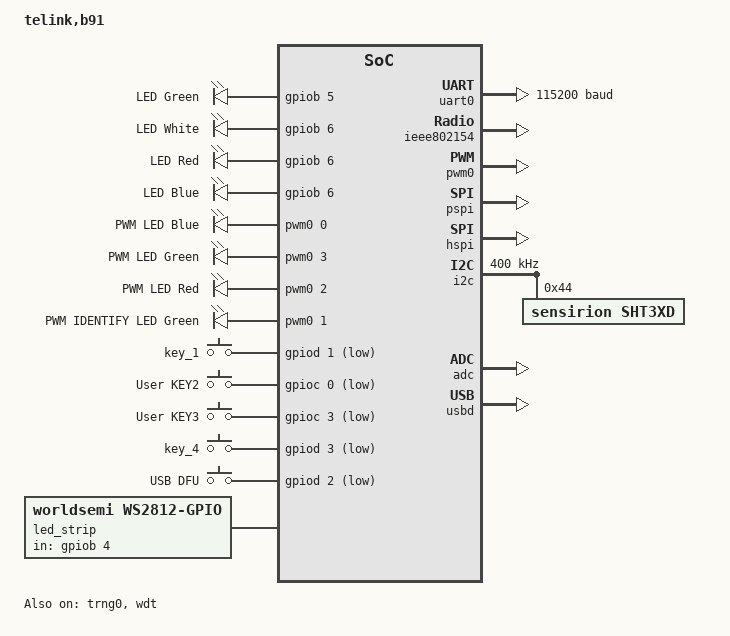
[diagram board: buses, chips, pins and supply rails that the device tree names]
/*
 * Copyright (c) 2023 Telink Semiconductor
 *
 * SPDX-License-Identifier: Apache-2.0
 */

/dts-v1/;

#include <freq.h>
#include <telink/telink_b91.dtsi>
#include "tlsr9518adk80d-pinctrl.dtsi"
#include <zephyr/dt-bindings/gpio/gpio.h>
#include <zephyr/dt-bindings/led/led.h>

/ {
	model = "telink,b91";
	compatible = "telink,tlsr9518adk80d";

	aliases {
		led0 = &led_blue;
		led1 = &led_green;
		led2 = &led_white;
		led3 = &led_red;
		sw0 = &key_1;
		sw1 = &key_2;
		sw2 = &key_3;
		sw3 = &key_4;
		pwm-0 = &pwm0;
		watchdog0 = &wdt;
		mcuboot-button0 = &key_dfu;
		mcuboot-led0 = &led_blue;
		led-strip = &led_strip;
		system-state-led = &led_red;
		pwm-led0 = &pwm_led0;
		pwm-led1 = &pwm_led1;
		pwm-led2 = &pwm_led2;
		pwm-led3 = &pwm_led3;
	};

	leds {
		compatible = "gpio-leds";

		led_green: led_1 {
			gpios = <&gpiob 5 GPIO_ACTIVE_HIGH>;
			label = "LED Green";
		};

		led_white: led_2 {
			gpios = <&gpiob 6 GPIO_ACTIVE_HIGH>;
			label = "LED White";
		};

		led_red: led_3 {
			label = "LED Red";
			gpios = <&gpiob 6 GPIO_ACTIVE_HIGH>;
		};

		led_blue: led_0 {
			label = "LED Blue";
			gpios = <&gpiob 6 GPIO_ACTIVE_HIGH>;
		};
	};

	pwm_leds {
		compatible = "pwm-leds";

		pwm_led0: pwm_led_0 {
			pwms = <&pwm0 0 PWM_MSEC(20) PWM_POLARITY_NORMAL>;
			label = "PWM LED Blue";
		};
		pwm_led1: pwm_led_1 {
			pwms = <&pwm0 3 PWM_MSEC(20) PWM_POLARITY_NORMAL>;
			label = "PWM LED Green";
		};
		pwm_led2: pwm_led_2 {
			pwms = <&pwm0 2 PWM_MSEC(20) PWM_POLARITY_NORMAL>;
			label = "PWM LED Red";
		};
		pwm_led3: pwm_led_3 {
			pwms = <&pwm0 1 PWM_MSEC(20) PWM_POLARITY_NORMAL>;
			label = "PWM IDENTIFY LED Green";
		};
	};

	keys {
		compatible = "gpio-keys";

		key_1: button_1 {
			gpios = <&gpiod 1 (GPIO_PULL_UP | GPIO_ACTIVE_LOW)>;
		};
		key_2: button_2 {
			label = "User KEY2";
			gpios = <&gpioc 0 (GPIO_ACTIVE_LOW | GPIO_PULL_UP)>;
		};
		key_3: button_3 {
			label = "User KEY3";
			gpios = <&gpioc 3 (GPIO_ACTIVE_LOW | GPIO_PULL_UP)>;
		};
		key_4: button_4 {
			gpios = <&gpiod 3 (GPIO_PULL_UP | GPIO_ACTIVE_LOW)>;
		};
		key_dfu: button_dfu {
			label = "USB DFU";
			gpios = <&gpiod 2 (GPIO_PULL_UP | GPIO_ACTIVE_LOW)>;
		};
	};

	led_strip: ws2812 {
		compatible = "worldsemi,ws2812-gpio";

		chain-length = <1>; /* arbitrary; change at will */
		color-mapping = <LED_COLOR_ID_GREEN
				 LED_COLOR_ID_RED
				 LED_COLOR_ID_BLUE>;
		in-gpios = <&gpiob 4 0>;
	};

	chosen {
		zephyr,console = &uart0;
		zephyr,shell-uart = &uart0;
		zephyr,sram = &ram_dlm;
		zephyr,flash = &flash;
		zephyr,flash-controller = &flash_mspi;
		zephyr,entropy = &trng0;
		zephyr,code-partition = &slot0_partition;
		zephyr,ieee802154 = &ieee802154;
	};
};

&cpu0 {
	clock-frequency = <48000000>;
};

&ram_ilm {
	reg = <0x00000000 0x00020000>;
};

&ram_dlm {
	reg = <0x00080000 0x00020000>;
};

&flash {
	reg = <0x20000000 0x100000>;

	partitions {
		compatible = "fixed-partitions";
		#address-cells = <1>;
		#size-cells = <1>;

		boot_partition: partition@0 {
			label = "mcuboot";
			reg = <0x00000000 0x20000>;
		};
		slot0_partition: partition@20000 {
			label = "image-0";
			reg = <0x20000 0x68000>;
		};
		slot1_partition: partition@88000 {
			label = "image-1";
			reg = <0x88000 0x68000>;
		};
		scratch_partition: partition@f0000 {
			label = "image-scratch";
			reg = <0xf0000 0x4000>;
		};
		storage_partition: partition@f4000 {
			label = "storage";
			reg = <0xf4000 0x0000a000>;
		};

		/* region <0xfe000 0x2000> is used for Telink B9x RF parameters */
		/* For 1M MCU - the partition address is 0xfe000 */
		/* For 2M MCU - the partition address is 0x1fe000 */
		/* For 4M MCU - the partition address is 0x3fe000 */
		/* For 16M MCU - the partition address is 0xffe000 */
		vendor_partition: partition@fe000 {
			label = "vendor-data";
			reg = <0xfe000 0x2000>;
		};
	};
};

&gpiob {
	status = "okay";
};

&gpioc {
	interrupts = <38 1>;
	status = "okay";
};

&gpiod {
	interrupts = <37 1>;
	status = "okay";
};

&pinctrl {
	/* Define I2C pins: SCL(PE0), SDA(PC2) */
	i2c_scl_pe0_default: i2c_scl_pe0_default {
		pinmux = <B9x_PINMUX_SET(B9x_PORT_E, B9x_PIN_0, B91_FUNC_A)>;
	};
	i2c_sda_pc2_default: i2c_sda_pc2_default {
		pinmux = <B9x_PINMUX_SET(B9x_PORT_C, B9x_PIN_2, B91_FUNC_A)>;
	};

	/* PWMs */
	pwm_ch0_pe3_default: pwm_ch0_pe3_default {
		pinmux = <B9x_PINMUX_SET(B9x_PORT_E, B9x_PIN_3, B91_FUNC_C)>;
	};
	pwm_ch1_pb5_default: pwm_ch1_pb5_default {
		pinmux = <B9x_PINMUX_SET(B9x_PORT_B, B9x_PIN_5, B91_FUNC_C)>;
	};
	pwm_ch2_pe2_default: pwm_ch2_pe2_default {
		pinmux = <B9x_PINMUX_SET(B9x_PORT_E, B9x_PIN_2, B91_FUNC_C)>;
	};
	pwm_ch3_pe0_default: pwm_ch3_pe0_default {
		pinmux = <B9x_PINMUX_SET(B9x_PORT_E, B9x_PIN_0, B91_FUNC_C)>;
	};
	pwm_ch4_pe4_default: pwm_ch4_pe4_default {
		pinmux = <B9x_PINMUX_SET(B9x_PORT_E, B9x_PIN_4, B91_FUNC_C)>;
	};
};

&uart0 {
	status = "okay";
	current-speed = <115200>;
	pinctrl-0 = <&uart0_tx_pb2_default &uart0_rx_pb3_default>;
	pinctrl-names = "default";
};

&trng0 {
	status = "okay";
};

&ieee802154 {
	status = "okay";
};

&pwm0 {
	status = "okay";
	clock-frequency = <93750>;
	pinctrl-0 = <&pwm_ch0_pe3_default
				 &pwm_ch1_pb5_default
				 &pwm_ch2_pe2_default
				 &pwm_ch4_pe4_default>;
	pinctrl-names = "default";
};

&pspi {
	status = "okay";
	cs0-pin = "PSPI_CSN_PC4";
	pinctrl-0 = <&pspi_clk_pc5_default &pspi_miso_pc6_default &pspi_mosi_pc7_default>;
	pinctrl-names = "default";
};

&hspi {
	status = "okay";
	cs0-pin = "HSPI_CSN_PA1";
	pinctrl-0 = <&hspi_clk_pa2_default &hspi_miso_pa3_default &hspi_mosi_pa4_default>;
	pinctrl-names = "default";
};

&i2c {
	status = "okay";
	clock-frequency = <I2C_BITRATE_FAST>;
	pinctrl-0 = <&i2c_scl_pe0_default &i2c_sda_pc2_default>;
		sht3xd@44 {
			compatible = "sensirion,sht3xd";
			reg = <0x44>;
		};
	pinctrl-names = "default";
};

&adc {
	status = "okay";
	vref-internal-mv = <1200>;
	sample-freq = <DT_FREQ_K(96)>;
	pinctrl-0 = <&adc_pb0_default>;
	pinctrl-names = "default";
};

zephyr_udc0: &usbd {
	compatible = "telink,b9x-usbd";
	status = "okay";
};

&wdt {
	status = "okay";
};
